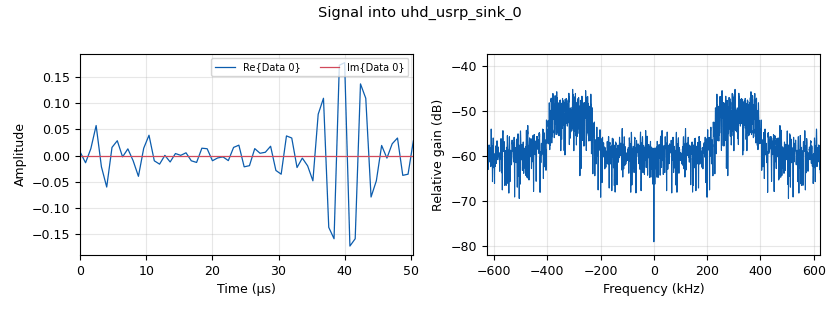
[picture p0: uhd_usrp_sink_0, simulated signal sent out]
options:
  parameters:
    generate_options: qt_gui
    id: kerem
    output_language: python
  states: {}

blocks:
- name: Data
  id: variable
  parameters:
    value: numpy.array(numpy.random.randint(M,size=dat_len))
  states: {}
- name: M
  id: variable
  parameters:
    value: '16'
  states: {}
- name: P
  id: variable_qtgui_check_box
  parameters:
    'false': '0'
    label: Print BER
    'true': '1'
    type: int
    value: '0'
  states: {}
- name: TT
  id: variable_qtgui_range
  parameters:
    orient: Qt.Horizontal
    start: '0.3'
    step: '0.01'
    stop: '2'
    value: '1'
  states: {}
- name: TX_GAIN
  id: variable_qtgui_range
  parameters:
    orient: Qt.Horizontal
    start: '1'
    step: '0.01'
    stop: '2'
    value: '1'
  states: {state: disabled}
- name: VGA
  id: variable_qtgui_range
  parameters:
    label: Gain
    orient: Qt.Horizontal
    start: '1'
    step: '1'
    stop: '1000'
    value: '2'
  states: {state: disabled}
- name: dat_len
  id: variable
  parameters:
    value: (fram_len//filt_len)
  states: {}
- name: filt_len
  id: variable
  parameters:
    value: span*sps+1
  states: {}
- name: fram_len
  id: variable
  parameters:
    value: '4096'
  states: {}
- name: frame_len
  id: variable
  parameters:
    value: dat_len*filt_len
  states: {}
- name: freq
  id: variable_qtgui_range
  parameters:
    gui_hint: 2,1,1,1
    label: Frequency
    orient: Qt.Horizontal
    start: '0'
    step: '0.05'
    stop: '0.5'
    value: '0.25'
  states: {}
- name: freq
  id: variable
  parameters:
    value: '0.25'
  states: {state: disabled}
- name: inph
  id: variable
  parameters:
    value: numpy.multiply(rrrc,numpy.cos(numpy.array(range(filt_len))*2*math.pi*freq))
  states: {}
- name: noise
  id: variable_qtgui_range
  parameters:
    gui_hint: 2,0,1,1
    label: Noise Power
    orient: Qt.Horizontal
    start: '-30'
    step: '0.5'
    stop: '10'
    value: '-10'
  states: {state: disabled}
- name: quad
  id: variable
  parameters:
    value: numpy.multiply(rrrc,numpy.sin(numpy.array(range(filt_len))*2*math.pi*freq))
  states: {}
- name: rrrc
  id: variable_rrc_filter_taps
  parameters:
    alpha: '0.1'
    gain: numpy.sqrt(sps*2)
    ntaps: filt_len
    samp_rate: samp_rate
    sym_rate: samp_rate/sps
  states: {}
- name: samp_rate
  id: variable
  parameters:
    value: 1.25e6
  states: {}
- name: span
  id: variable
  parameters:
    value: '8'
  states: {}
- name: sps
  id: variable
  parameters:
    value: '8'
  states: {}
- name: thresh
  id: variable_qtgui_range
  parameters:
    orient: Qt.Horizontal
    start: '0.0001'
    step: '0.0005'
    stop: '0.1'
    value: '0.05'
  states: {}
- name: blocks_add_xx_0
  id: blocks_add_xx
  parameters:
    type: float
  states: {}
- name: blocks_complex_to_float_0
  id: blocks_complex_to_float
  parameters: {}
  states: {}
- name: blocks_complex_to_float_1
  id: blocks_complex_to_float
  parameters: {}
  states: {}
- name: blocks_complex_to_mag_squared_0
  id: blocks_complex_to_mag_squared
  parameters: {}
  states: {}
- name: blocks_file_sink_0_0
  id: blocks_file_sink
  parameters:
    file: /Users/keremenhos/Desktop/NEU/VLC v2/GNURadio/data_test2.dat
    type: complex
  states: {state: disabled}
- name: blocks_float_to_complex_0
  id: blocks_float_to_complex
  parameters: {}
  states: {}
- name: blocks_float_to_complex_1
  id: blocks_float_to_complex
  parameters: {}
  states: {}
- name: blocks_keep_m_in_n_0
  id: blocks_keep_m_in_n
  parameters:
    m: '1'
    n: filt_len
    offset: filt_len-2
    type: complex
  states: {}
- name: blocks_keep_m_in_n_1
  id: blocks_keep_m_in_n
  parameters:
    m: frame_len
    n: fram_len
    offset: '0'
    type: float
  states: {}
- name: blocks_null_sink_0
  id: blocks_null_sink
  parameters:
    type: float
  states: {state: disabled}
- name: blocks_null_sink_0_0
  id: blocks_null_sink
  parameters:
    type: short
  states: {state: disabled}
- name: blocks_stream_to_tagged_stream_0
  id: blocks_stream_to_tagged_stream
  parameters:
    len_tag_key: packet_len
    packet_len: '510'
    type: float
  states: {}
- name: blocks_stream_to_tagged_stream_1
  id: blocks_stream_to_tagged_stream
  parameters:
    len_tag_key: packet_len
    packet_len: frame_len
    type: float
  states: {}
- name: blocks_stream_to_tagged_stream_2
  id: blocks_stream_to_tagged_stream
  parameters:
    len_tag_key: pck
    packet_len: frame_len
    type: float
  states: {}
- name: blocks_tag_gate_0
  id: blocks_tag_gate
  parameters:
    propagate_tags: 'False'
    type: float
  states: {}
- name: blocks_tagged_stream_mux_0
  id: blocks_tagged_stream_mux
  parameters:
    lengthtagname: packet_len
    ninputs: '2'
    type: float
  states: {}
- name: blocks_vector_insert_x_0
  id: blocks_vector_insert_x
  parameters:
    offset: '0'
    period: filt_len
    type: float
    vector: '[0]*(filt_len-1)'
  states: {}
- name: blocks_vector_insert_x_0_0
  id: blocks_vector_insert_x
  parameters:
    offset: '0'
    period: filt_len
    type: float
    vector: '[0]*(filt_len-1)'
  states: {}
- name: blocks_vector_source_x_0
  id: blocks_vector_source_x
  parameters:
    repeat: 'True'
    type: float
    vector: '[-1,-1,-1,-1,-1,-1,-1,-1,1,-1,-1,-1,1,-1,-1,-1,1,1,-1,-1,1,-1,-1,-1,1,1,1,-1,1,-1,1,-1,1,1,-1,1,1,-1,-1,-1,1,1,1,-1,-1,-1,1,-1,-1,1,-1,1,-1,1,-1,-1,-1,1,1,-1,1,1,-1,-1,1,1,1,1,1,-1,-1,1,1,1,1,-1,-1,-1,1,-1,1,1,-1,1,1,1,-1,-1,1,-1,1,-1,-1,1,-1,-1,-1,-1,-1,1,-1,-1,1,1,-1,-1,1,1,1,-1,1,-1,-1,-1,1,1,1,1,1,-1,1,1,1,1,-1,-1,-1,-1,-1,1,1,1,1,1,1,1,1,1,-1,-1,-1,-1,1,1,1,1,-1,1,1,1,-1,-1,-1,-1,1,-1,1,1,-1,-1,1,1,-1,1,1,-1,1,1,1,1,-1,1,-1,-1,-1,-1,1,1,1,-1,-1,1,1,-1,-1,-1,-1,1,-1,-1,1,-1,-1,-1,1,-1,1,-1,1,1,1,-1,1,-1,1,1,1,1,-1,-1,1,-1,-1,1,-1,1,1,1,-1,-1,1,1,1,-1,-1,-1,-1,-1,-1,1,1,1,-1,1,1,1,-1,1,-1,-1,1,1,1,1,-1,1,-1,1,-1,-1,1,-1,1,-1,-1,-1,-1,-1,-1,1,-1,1,-1,1,-1,1,-1,1,1,1,1,1,-1,1,-1,1,1,-1,1,-1,-1,-1,-1,-1,1,1,-1,1,1,1,-1,1,1,-1,1,1,-1,1,-1,1,1,-1,-1,-1,-1,-1,1,-1,1,1,1,-1,1,1,1,1,1,-1,-1,-1,1,1,1,1,-1,-1,1,1,-1,1,-1,-1,1,1,-1,1,-1,1,1,1,-1,-1,-1,1,1,-1,1,-1,-1,-1,1,-1,1,1,1,1,1,1,1,-1,1,-1,-1,1,-1,1,1,-1,-1,-1,1,-1,1,-1,-1,1,1,-1,-1,-1,1,1,-1,-1,-1,-1,-1,-1,-1,1,1,-1,-1,1,1,-1,-1,1,-1,1,-1,1,1,-1,-1,1,-1,-1,1,1,1,1,1,1,-1,1,1,-1,1,-1,-1,1,-1,-1,1,-1,-1,1,1,-1,1,1,1,1,1,1,-1,-1,1,-1,1,1,-1,1,-1,1,-1,-1,-1,-1,1,-1,1,-1,-1,-1,1,-1,-1,1,1,1,-1,1,1,-1,-1,1,-1,1,1,1,1,-1,1,1,-1,-1,-1,-1,1,1,-1,1,-1,1,-1,1,-1,-1,1,1,1,-1,-1,1,-1,-1,-1,-1,1,1,-1,-1,-1,1,-1,-1,-1,-1]'
  states: {}
- name: blocks_vector_source_x_0_0
  id: blocks_vector_source_x
  parameters:
    repeat: 'True'
    type: int
    vector: Data
  states: {}
- name: digital_corr_est_cc_0
  id: digital_corr_est_cc
  parameters:
    mark_delay: '509'
    sps: '1'
    symbols: '[-1,-1,-1,-1,-1,-1,-1,-1,1,-1,-1,-1,1,-1,-1,-1,1,1,-1,-1,1,-1,-1,-1,1,1,1,-1,1,-1,1,-1,1,1,-1,1,1,-1,-1,-1,1,1,1,-1,-1,-1,1,-1,-1,1,-1,1,-1,1,-1,-1,-1,1,1,-1,1,1,-1,-1,1,1,1,1,1,-1,-1,1,1,1,1,-1,-1,-1,1,-1,1,1,-1,1,1,1,-1,-1,1,-1,1,-1,-1,1,-1,-1,-1,-1,-1,1,-1,-1,1,1,-1,-1,1,1,1,-1,1,-1,-1,-1,1,1,1,1,1,-1,1,1,1,1,-1,-1,-1,-1,-1,1,1,1,1,1,1,1,1,1,-1,-1,-1,-1,1,1,1,1,-1,1,1,1,-1,-1,-1,-1,1,-1,1,1,-1,-1,1,1,-1,1,1,-1,1,1,1,1,-1,1,-1,-1,-1,-1,1,1,1,-1,-1,1,1,-1,-1,-1,-1,1,-1,-1,1,-1,-1,-1,1,-1,1,-1,1,1,1,-1,1,-1,1,1,1,1,-1,-1,1,-1,-1,1,-1,1,1,1,-1,-1,1,1,1,-1,-1,-1,-1,-1,-1,1,1,1,-1,1,1,1,-1,1,-1,-1,1,1,1,1,-1,1,-1,1,-1,-1,1,-1,1,-1,-1,-1,-1,-1,-1,1,-1,1,-1,1,-1,1,-1,1,1,1,1,1,-1,1,-1,1,1,-1,1,-1,-1,-1,-1,-1,1,1,-1,1,1,1,-1,1,1,-1,1,1,-1,1,-1,1,1,-1,-1,-1,-1,-1,1,-1,1,1,1,-1,1,1,1,1,1,-1,-1,-1,1,1,1,1,-1,-1,1,1,-1,1,-1,-1,1,1,-1,1,-1,1,1,1,-1,-1,-1,1,1,-1,1,-1,-1,-1,1,-1,1,1,1,1,1,1,1,-1,1,-1,-1,1,-1,1,1,-1,-1,-1,1,-1,1,-1,-1,1,1,-1,-1,-1,1,1,-1,-1,-1,-1,-1,-1,-1,1,1,-1,-1,1,1,-1,-1,1,-1,1,-1,1,1,-1,-1,1,-1,-1,1,1,1,1,1,1,-1,1,1,-1,1,-1,-1,1,-1,-1,1,-1,-1,1,1,-1,1,1,1,1,1,1,-1,-1,1,-1,1,1,-1,1,-1,1,-1,-1,-1,-1,1,-1,1,-1,-1,-1,1,-1,-1,1,1,1,-1,1,1,-1,-1,1,-1,1,1,1,1,-1,1,1,-1,-1,-1,-1,1,1,-1,1,-1,1,-1,1,-1,-1,1,1,1,-1,-1,1,-1,-1,-1,-1,1,1,-1,-1,-1,1,-1,-1,-1,-1]'
    threshold: thresh
    threshold_method: digital.THRESHOLD_ABSOLUTE
  states: {}
- name: epy_block_0
  id: epy_block
  parameters:
    M: M
    _source_code: |
      """
      Embedded Python Blocks:

      Each time this file is saved, GRC will instantiate the first class it finds
      to get ports and parameters of your block. The arguments to __init__  will
      be the parameters. All of them are required to have default values!
      """

      import numpy as np
      import time
      from gnuradio import gr


      class blk(gr.sync_block):  # other base classes are basic_block, decim_block, interp_block
          """Embedded Python Block example - a simple multiply const"""

          def __init__(self, M=4):  # only default arguments here
              """arguments to this function show up as parameters in GRC"""
              gr.sync_block.__init__(
                  self,
                  name='QAM Modulator',   # will show up in GRC
                  in_sig=[np.int32],
                  out_sig=[np.complex64]
              )
              self.M = M
              self.tM = self.M
              self.c = 0
              
          def modulat(self, MO):
              if MO == 2:
                  cons = (np.array([1+0*1j,-1+0*1j]))
              else:
                  n = np.arange(0,MO)
                  a = np.asarray([x^(x>>1) for x in n])
                  D = np.sqrt(MO).astype(int)
                  a = np.reshape(a,(D,D))
                  a[1::2, :] = a[1::2, ::-1]
                  nGray=np.reshape(a,(MO))
                  x1 = nGray//D
                  y = nGray%D
                  Ay=2*y+1-D
                  Ax=2*x1+1-D
                  cons = Ax+1j*Ay
                  cons = cons/np.max(np.absolute((np.real(cons))))
              return cons

          def work(self, input_items, output_items):
              
              self.cons = self.modulat(self.M)
                      
              for xx in range(len(input_items[0])):
                  output_items[0][xx] = self.cons[input_items[0][xx]]

              return len(output_items[0])
  states: {}
- name: epy_block_1
  id: epy_block
  parameters:
    _source_code: |
      import time
      import random
      import numpy as np

      from gnuradio import gr
      from gnuradio import gr_unittest
      from gnuradio import digital
      from gnuradio import blocks
      from gnuradio import grc
      import pmt
      import inspect

      class blk(gr.basic_block):
          def __init__(self, frame_length=1):
              
              gr.basic_block.__init__(
                  self,
                  name="Preamble Demux",
                  in_sig=[np.float32],
                  out_sig=[np.float32]
              )
              self.a = 0
              self.aa = 0
              self.buf = []
              self.off = 0
              self.det = 0
              self.flg2 = 0
              self.b = 0
              self.frame_length = frame_length
              
          def forecast(self, noutput_items, ninput_items_required):
              #setup size of input_items[i] for work call
              for i in range(len(ninput_items_required)):
                  ninput_items_required[i] = 4096
                  
          def general_work(self, input_items, output_items):
              in0 = input_items[0]
              out = output_items[0]
              
              if self.det == 0:
                  tags = self.get_tags_in_window(0, 0, len(in0))
                  for tag in tags:
                      offset = tag.offset
                      key = pmt.to_python(tag.key) # convert from PMT to python string
                      if key == 'corr_est':
                          self.off = offset
                          self.det = 1
                          self.flg2 = 0
                          self.buf.extend(in0[(self.off-self.aa)+2:])
                          break
                  if self.det == 0:
                      self.b = 0
                          
              if len(self.buf)<self.frame_length and self.det == 1 and self.flg2 == 1:
                  self.buf.extend(in0)
              
              if len(self.buf)>=self.frame_length and self.det == 1 and len(out)>=self.frame_length:
                  out[:self.frame_length] = self.buf[:self.frame_length]
                  if len(self.buf) == self.frame_length:
                      self.buf = []
                      self.det = 0
                      self.b = 1
                  else:
                      tags = self.get_tags_in_window(0, 0, len(in0))
                      for tag in tags:
                          self.offset2 = tag.offset
                          key = pmt.to_python(tag.key) # convert from PMT to python string
                          if key == 'corr_est':
                              if self.offset2 == self.off:
                                  self.buf = []
                                  self.det = 0
                                  self.b = 1
                                  break
                              else:
                                  self.off = self.offset2
                                  self.det = 1
                                  self.flg2 = 0
                                  self.buf=[]
                                  self.buf.extend(in0[(self.off-self.aa)+2:])
                                  self.b = 1
                                  break

              self.flg2 = 1
              self.aa = self.aa + len(in0)
              
              self.consume(0, len(in0)) #consume port 0 input
              
              if self.b == 0:
                  return 0
              else:
                  return self.frame_length
    frame_length: fram_len
  states: {}
- name: epy_block_3
  id: epy_block
  parameters:
    M: M
    _source_code: "import numpy as np\nimport math\nimport cmath\nfrom gnuradio import gr\n\nimport time\nimport random\nfrom gnuradio import gr_unittest\nfrom gnuradio import digital\nfrom gnuradio import blocks\nfrom gnuradio import grc\nimport pmt\nimport inspect\n\nclass blk(gr.sync_block):  # other base classes are basic_block, decim_block, interp_block\n\n    def __init__(self, data=[], M=4, ttt=1):  # only default arguments here\n        gr.sync_block.__init__(\n            self,\n            name='CAP Equalizer',   # will show up in GRC\n            in_sig=[np.complex64],\n            out_sig=[np.complex64]\n        )\n        self.aa = 0\n        self.off=0\n        self.ttt = ttt\n        self.data = data\n        self.M = M\n        self.phOff = 0\n        self.bin_d2 = []\n        self.c = 0\n        self.zz = []\n        self.zy = 0\n        self.a = []\n        self.phOffT = 0\n        self.phOffM = 0\n        self.cc = 0\n        self.ccc = 0\n        self.flg = 0\n        self.xr = []\n        self.xi = []\n        self.bin_d2=np.zeros(len(self.data), dtype=complex)\n        \n    def modulat(self, MO):\n        if MO == 2:\n            cons = (np.array([1+0*1j,-1+0*1j]))\n        else:\n            n = np.arange(0,MO)\n            a = np.asarray([x^(x>>1) for x in n])\n            D = np.sqrt(MO).astype(int)\n            a = np.reshape(a,(D,D))\n            a[1::2, :] = a[1::2, ::-1]\n            nGray=np.reshape(a,(MO))\n            x1 = nGray//D\n            y = nGray%D\n            Ay=2*y+1-D\n            Ax=2*x1+1-D\n            cons = Ax+1j*Ay\n            cons = cons/np.max(np.absolute((np.real(cons))))\n        return cons\n        \n    def work(self, input_items, output_items):\n\n        in0 = input_items[0]\n        ws = 1000\n        \n        if self.cc >= ws:\n#            self.xr[self.ccc] = np.sqrt(np.nanmean(np.real(in0)**2))\n#            self.xi[self.ccc] = np.sqrt(np.nanmean(np.imag(in0)**2))\n            self.xr[self.ccc] = np.amax(np.absolute(np.real(in0)))\n            self.xi[self.ccc] = np.amax(np.absolute(np.imag(in0)))\n            self.ccc += 1\n            if self.ccc == ws:\n                self.ccc = 0\n        else:\n#            self.xr.append(np.sqrt(np.nanmean(np.real(in0)**2)))\n#            self.xi.append(np.sqrt(np.nanmean(np.imag(in0)**2)))\n            self.xr.append(np.amax(np.absolute(np.real(in0))))\n            self.xi.append(np.amax(np.absolute(np.imag(in0))))\n            self.cc += 1\n\n        self.rmsR = np.nanmean(self.xr)\n        self.rmsI = np.nanmean(self.xi)\n        \n        if self.rmsR != 0 and self.rmsI != 0:\n            eq = np.array((self.ttt/np.sqrt(1))*np.real(in0)/self.rmsR)+np.array((self.ttt/np.sqrt(1))*np.imag(in0)/self.rmsI)*1j\n        else:\n            print('ANAN')\n            eq = in0\n\n        if self.flg == 0:\n            self.flg = 1\n            self.cons = self.modulat(self.M)\n        \n        for yy in range(len(self.data)):\n            self.bin_d2[yy] = self.cons[self.data[yy]]\n            \n        tags = self.get_tags_in_window(0, 0, len(in0))\n        for tag in tags:\n            key = pmt.to_python(tag.key) # convert from PMT to python string\n            if key == 'pck':\n                self.off = tag.offset\n                if (self.off-self.aa) + len(self.bin_d2)+1 >= len(in0):\n                    a = (in0[(self.off-self.aa)+1:])\n                    if len(a) > 0:\n                        self.phOff = (np.nanmean(np.angle(self.bin_d2[:(len(in0)-(self.off-self.aa)-1)]*np.conj(a))))\n                else:\n                    a = (in0[(self.off-self.aa)+1:(self.off-self.aa) + len(self.bin_d2)+1])\n                    self.phOff = (np.nanmean(np.angle(self.bin_d2*np.conj(a))))\n                    \n        output_items[0][:] = cmath.exp(np.real(self.phOff)*1j)*eq\n        \n        self.aa = self.aa + len(input_items[0])\n\n        return len(output_items[0])\n\n"
    data: Data
    ttt: TT
  states: {}
- name: epy_block_4
  id: epy_block
  parameters:
    M: M
    _source_code: |
      import time
      import random
      import numpy as np

      from gnuradio import gr
      from gnuradio import gr_unittest
      from gnuradio import digital
      from gnuradio import blocks
      from gnuradio import grc
      import pmt
      import inspect


      class blk(gr.sync_block):  # other base classes are basic_block, decim_block, interp_block

          def __init__(self, M=4):  # only default arguments here
              gr.sync_block.__init__(
                  self,
                  name='QAM Demodulator',   # will show up in GRC
                  in_sig=[np.complex64],
                  out_sig=[np.int16]
              )
              # if an attribute with the same name as a parameter is found,
              # a callback is registered (properties work, too).
              self.flg = 0
              self.M=M

              
          def modulat(self, MO):
              if MO == 2:
                  cons = (np.array([1+0*1j,-1+0*1j]))
              else:
                  n = np.arange(0,MO)
                  a = np.asarray([x^(x>>1) for x in n])
                  D = np.sqrt(MO).astype(int)
                  a = np.reshape(a,(D,D))
                  a[1::2, :] = a[1::2, ::-1]
                  nGray=np.reshape(a,(MO))
                  x1 = nGray//D
                  y = nGray%D
                  Ay=2*y+1-D
                  Ax=2*x1+1-D
                  cons = Ax+1j*Ay
                  cons = cons/np.max(np.absolute((np.real(cons))))
              return cons

          def work(self, input_items, output_items):
              if self.flg == 0:
                  self.dp = self.modulat(self.M)
                  self.flg = 1
              
              tdat = np.transpose(np.tile(input_items[0],(len(self.dp),1)))
              tcons = np.tile(self.dp,(len(input_items[0]),1))

              ll = np.subtract(tdat,tcons)
              min_ind = np.argmin(np.sqrt(np.real(ll)**2 + np.imag(ll)**2),axis=1)
              output_items[0][:] = min_ind.astype('int')
              

              return len(output_items[0])
  states: {}
- name: epy_block_5
  id: epy_block
  parameters:
    M: M
    _source_code: |
      import time
      import random
      import numpy as np

      from gnuradio import gr
      from gnuradio import gr_unittest
      from gnuradio import digital
      from gnuradio import blocks
      from gnuradio import grc
      import pmt
      import inspect


      class blk(gr.sync_block):

          def __init__(self, data=[], M=4, display_BER = 0, num_bits = 1000000):
              gr.sync_block.__init__(
                  self,
                  name='BER',
                  in_sig=[np.int16],
                  out_sig=[]
              )
              self.bin_data = data
              self.e = 0
              self.p = 0
              self.buf = []
              self.flg = 0
              self.k = np.sqrt(M)
              self.ber = 1
              self.display_BER = display_BER
              self.num_bits = num_bits
              self.aa = 0

          def work(self, input_items, output_items):
              
              if self.flg == 1:
                  self.flg = 0
                  self.buf.extend(input_items[0][:len(self.bin_data)-len(self.buf)+10])
                  self.p += 1
                  for j in range(len(self.bin_data)):
                      if j<len(self.buf):
                          self.e += sum(np.array(list(bin(int(self.buf[j])^self.bin_data[j])[2:])).astype('int'))

              if self.flg == 0:
                  tags = self.get_tags_in_window(0, 0, len(input_items[0]))
                  for tag in tags:
                      offset = tag.offset
                      key = pmt.to_python(tag.key) # convert from PMT to python string
                      value = pmt.to_python(tag.value)
                      if key == 'pck':
                          self.off = offset
                          if (self.off-self.nitems_read(0)+1) + len(self.bin_data) < len(input_items[0]):
                              self.p += 1
                              for i in range(len(self.bin_data)):
                                  self.e += sum(np.array(list(bin(int(input_items[0][(self.off-self.nitems_read(0)+1)+i])^self.bin_data[i])[2:])).astype('int'))
                          else:
                              self.buf=[]
                              self.buf.extend(input_items[0][(self.off-self.nitems_read(0)+1):])
                              self.flg = 1
                              
              if self.p*(self.k*len(self.bin_data)) > self.num_bits:
                  self.ber = self.e/(self.p*(self.k*len(self.bin_data)))
                  self.e = 0
                  self.p = 0
                  if self.display_BER == 1:
                      print(self.ber)

      #        output_items[0][:] = self.ber*np.ones(len(output_items[0]))
              return len(input_items[0])
    data: Data
    display_BER: P
    num_bits: 1e6
  states: {}
- name: epy_module_0
  id: epy_module
  parameters:
    source_code: |
      import numpy as np

      np.random.seed(444)
  states: {}
- name: fir_filter_xxx_0
  id: fir_filter_xxx
  parameters:
    decim: '1'
    taps: quad
    type: fff
  states: {}
- name: fir_filter_xxx_0_0
  id: fir_filter_xxx
  parameters:
    decim: '1'
    taps: numpy.flip(quad)
    type: fff
  states: {}
- name: fir_filter_xxx_1
  id: fir_filter_xxx
  parameters:
    decim: '1'
    taps: inph
    type: fff
  states: {}
- name: fir_filter_xxx_1_0
  id: fir_filter_xxx
  parameters:
    decim: '1'
    taps: numpy.flip(inph)
    type: fff
  states: {}
- name: import_0
  id: import
  parameters:
    imports: import math,cmath,numpy, random, time
  states: {}
- name: qtgui_const_sink_x_0
  id: qtgui_const_sink_x
  parameters:
    grid: 'True'
    gui_hint: (0,0,2,1)
    size: '4096'
    tr_mode: qtgui.TRIG_MODE_TAG
    tr_tag: pck
    type: complex
    update_time: '0.1'
  states: {}
- name: qtgui_const_sink_x_1
  id: qtgui_const_sink_x
  parameters:
    size: '1024'
    type: complex
  states: {state: disabled}
- name: qtgui_const_sink_x_2
  id: qtgui_const_sink_x
  parameters:
    size: '1024'
    tr_mode: qtgui.TRIG_MODE_TAG
    tr_tag: pck
    type: complex
  states: {state: disabled}
- name: qtgui_freq_sink_x_0
  id: qtgui_freq_sink_x
  parameters:
    bw: samp_rate
    fc: '0'
    fftsize: '4096'
    freqhalf: 'False'
    gui_hint: (1,1,1,1)
    tr_mode: qtgui.TRIG_MODE_TAG
    tr_tag: pck
    type: float
    wintype: firdes.WIN_BLACKMAN_hARRIS
  states: {}
- name: qtgui_number_sink_0
  id: qtgui_number_sink
  parameters:
    graph_type: qtgui.NUM_GRAPH_HORIZ
    type: float
  states: {state: disabled}
- name: qtgui_time_sink_x_0
  id: qtgui_time_sink_x
  parameters:
    autoscale: 'True'
    size: '1024'
    srate: samp_rate
    tr_mode: qtgui.TRIG_MODE_TAG
    tr_tag: corr_est
    type: float
    update_time: '0.01'
    ymax: '30000'
  states: {}
- name: qtgui_time_sink_x_1
  id: qtgui_time_sink_x
  parameters:
    size: '1024'
    srate: samp_rate
    type: complex
  states: {state: disabled}
- name: qtgui_time_sink_x_2
  id: qtgui_time_sink_x
  parameters:
    size: '4096'
    srate: '1'
    tr_tag: pck
    type: float
  states: {state: disabled}
- name: uhd_usrp_sink_0
  id: uhd_usrp_sink
  parameters:
    ant0: TX/RX
    center_freq0: '0'
    dev_args: '""'
    gain0: '0'
    len_tag_name: ''
    norm_gain0: 'False'
    samp_rate: samp_rate
    sync: none
    type: fc32
  states: {}
- name: uhd_usrp_source_0
  id: uhd_usrp_source
  parameters:
    ant0: ''
    center_freq0: '0'
    dc_offs_enb0: '""'
    dev_args: '""'
    gain0: '0'
    iq_imbal_enb0: '""'
    norm_gain0: 'False'
    samp_rate: samp_rate
    sync: none
    type: fc32
  states: {}
- name: zeromq_pull_source_0
  id: zeromq_pull_source
  parameters:
    address: tcp://192.168.1.36:50241
    timeout: '100'
    type: complex
  states: {state: disabled}

connections:
- [blocks_add_xx_0, '0', blocks_stream_to_tagged_stream_1, '0']
- [blocks_complex_to_float_0, '0', blocks_vector_insert_x_0, '0']
- [blocks_complex_to_float_0, '1', blocks_vector_insert_x_0_0, '0']
- [blocks_complex_to_float_1, '0', epy_block_1, '0']
- [blocks_complex_to_mag_squared_0, '0', qtgui_time_sink_x_0, '0']
- [blocks_float_to_complex_0, '0', uhd_usrp_sink_0, '0']
- [blocks_float_to_complex_1, '0', blocks_keep_m_in_n_0, '0']
- [blocks_keep_m_in_n_0, '0', epy_block_3, '0']
- [blocks_keep_m_in_n_0, '0', qtgui_const_sink_x_2, '0']
- [blocks_keep_m_in_n_1, '0', blocks_tag_gate_0, '0']
- [blocks_stream_to_tagged_stream_0, '0', blocks_tagged_stream_mux_0, '0']
- [blocks_stream_to_tagged_stream_1, '0', blocks_tagged_stream_mux_0, '1']
- [blocks_stream_to_tagged_stream_2, '0', fir_filter_xxx_0_0, '0']
- [blocks_stream_to_tagged_stream_2, '0', fir_filter_xxx_1_0, '0']
- [blocks_stream_to_tagged_stream_2, '0', qtgui_freq_sink_x_0, '0']
- [blocks_tag_gate_0, '0', blocks_stream_to_tagged_stream_2, '0']
- [blocks_tagged_stream_mux_0, '0', blocks_float_to_complex_0, '0']
- [blocks_vector_insert_x_0, '0', fir_filter_xxx_1, '0']
- [blocks_vector_insert_x_0_0, '0', fir_filter_xxx_0, '0']
- [blocks_vector_source_x_0, '0', blocks_stream_to_tagged_stream_0, '0']
- [blocks_vector_source_x_0_0, '0', epy_block_0, '0']
- [digital_corr_est_cc_0, '0', blocks_complex_to_float_1, '0']
- [digital_corr_est_cc_0, '0', qtgui_time_sink_x_1, '0']
- [digital_corr_est_cc_0, '1', blocks_complex_to_mag_squared_0, '0']
- [epy_block_0, '0', blocks_complex_to_float_0, '0']
- [epy_block_0, '0', blocks_file_sink_0_0, '0']
- [epy_block_0, '0', qtgui_const_sink_x_1, '0']
- [epy_block_1, '0', blocks_keep_m_in_n_1, '0']
- [epy_block_3, '0', epy_block_4, '0']
- [epy_block_3, '0', qtgui_const_sink_x_0, '0']
- [epy_block_4, '0', blocks_null_sink_0_0, '0']
- [epy_block_4, '0', epy_block_5, '0']
- [fir_filter_xxx_0, '0', blocks_add_xx_0, '1']
- [fir_filter_xxx_0_0, '0', blocks_float_to_complex_1, '1']
- [fir_filter_xxx_1, '0', blocks_add_xx_0, '0']
- [fir_filter_xxx_1_0, '0', blocks_float_to_complex_1, '0']
- [uhd_usrp_source_0, '0', digital_corr_est_cc_0, '0']
- [zeromq_pull_source_0, '0', digital_corr_est_cc_0, '0']

metadata:
  file_format: 1
